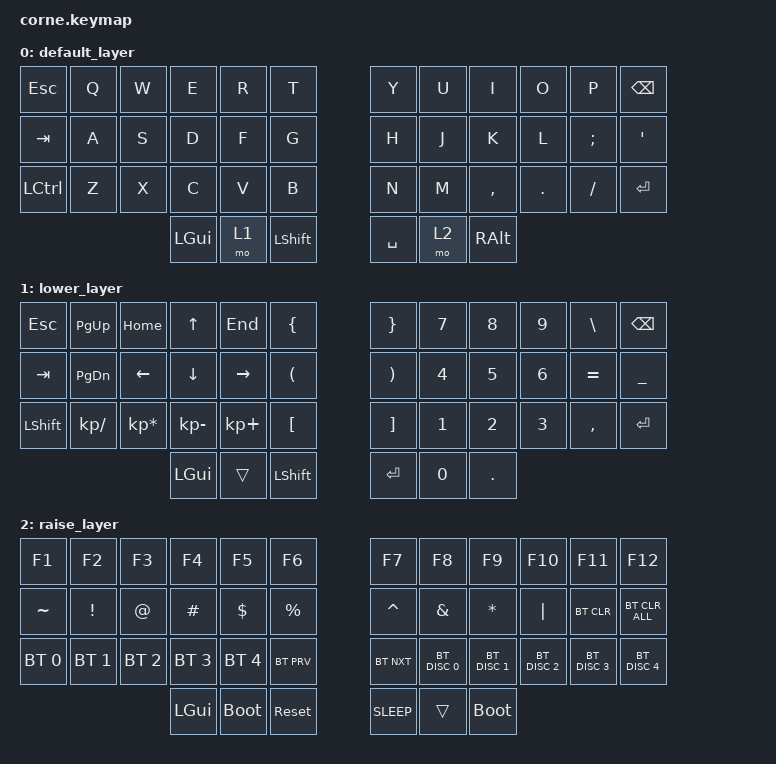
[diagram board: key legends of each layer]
/*
 * Copyright (c) 2020 The ZMK Contributors
 *
 * SPDX-License-Identifier: MIT
 */

#include <behaviors.dtsi>
#include <dt-bindings/zmk/bt.h>
#include <dt-bindings/zmk/keys.h>

/ {
    keymap {
        compatible = "zmk,keymap";

        default_layer {
            // -----------------------------------------------------------------------------------------
            // |  TAB |  Q  |  W  |  E  |  R  |  T  |   |  Y  |  U   |  I  |  O  |  P  | BKSP |
            // | CTRL |  A  |  S  |  D  |  F  |  G  |   |  H  |  J   |  K  |  L  |  ;  |  '   |
            // | SHFT |  Z  |  X  |  C  |  V  |  B  |   |  N  |  M   |  ,  |  .  |  /  | ESC  |
            //                    | GUI | LWR | SPC |   | ENT | RSE  | ALT |

            bindings = <
&kp ESCAPE  &kp Q  &kp W  &kp E     &kp R  &kp T             &kp Y      &kp U  &kp I      &kp O    &kp P     &kp BSPC
&kp TAB     &kp A  &kp S  &kp D     &kp F  &kp G             &kp H      &kp J  &kp K      &kp L    &kp SEMI  &kp SQT
&kp LCTRL   &kp Z  &kp X  &kp C     &kp V  &kp B             &kp N      &kp M  &kp COMMA  &kp DOT  &kp FSLH  &kp ENTER
                          &kp LGUI  &mo 1  &kp LEFT_SHIFT    &kp SPACE  &mo 2  &kp RALT
            >;
        };

        lower_layer {
            // -----------------------------------------------------------------------------------------
            // |  TAB |  1  |  2  |  3  |  4  |  5  |   |  6  |  7  |  8  |  9  |  0  | BKSP |
            // | BTCLR| BT1 | BT2 | BT3 | BT4 | BT5 |   | LFT | DWN |  UP | RGT |     |      |
            // | SHFT |     |     |     |     |     |   |     |     |     |     |     |      |
            //                    | GUI |     | SPC |   | ENT |     | ALT |

            bindings = <
&kp ESCAPE  &kp PAGE_UP    &kp HOME         &kp UP_ARROW     &kp END      &kp LEFT_BRACE          &kp RIGHT_BRACE        &kp N7        &kp N8        &kp N9        &kp BACKSLASH  &kp BSPC
&kp TAB     &kp PAGE_DOWN  &kp LEFT_ARROW   &kp DOWN         &kp RIGHT    &kp LEFT_PARENTHESIS    &kp RIGHT_PARENTHESIS  &kp NUMBER_4  &kp N5        &kp NUMBER_6  &kp EQUAL      &kp UNDER
&kp LSHFT   &kp KP_DIVIDE  &kp KP_MULTIPLY  &kp KP_SUBTRACT  &kp KP_PLUS  &kp LEFT_BRACKET        &kp RIGHT_BRACKET      &kp NUMBER_1  &kp NUMBER_2  &kp NUMBER_3  &kp COMMA      &kp ENTER
                                            &kp LGUI         &trans       &kp LEFT_SHIFT          &kp RET                &kp N0        &kp PERIOD
            >;
        };

        raise_layer {
            // -----------------------------------------------------------------------------------------
            // |  TAB |  !  |  @  |  #  |  $  |  %  |   |  ^  |  &  |  *  |  (  |  )  | BKSP |
            // | CTRL |     |     |     |     |     |   |  -  |  =  |  [  |  ]  |  \  |  `   |
            // | SHFT |     |     |     |     |     |   |  _  |  +  |  {  |  }  | "|" |  ~   |
            //                    | GUI |     | SPC |   | ENT |     | ALT |

            bindings = <
&kp F1        &kp F2        &kp F3        &kp F4        &kp F5        &kp F6         &kp F7       &kp F8         &kp F9         &kp F10        &kp F11        &kp F12
&kp TILDE     &kp EXCL      &kp AT        &kp HASH      &kp DOLLAR    &kp PERCENT    &kp CARET    &kp AMPS       &kp ASTRK      &kp PIPE       &bt BT_CLR     &bt BT_CLR_ALL
&bt BT_SEL 0  &bt BT_SEL 1  &bt BT_SEL 2  &bt BT_SEL 3  &bt BT_SEL 4  &bt BT_PRV     &bt BT_NXT   &bt BT_DISC 0  &bt BT_DISC 1  &bt BT_DISC 2  &bt BT_DISC 3  &bt BT_DISC 4
                                          &kp LGUI      &bootloader   &sys_reset     &kp K_SLEEP  &trans         &bootloader
            >;
        };
    };
};
